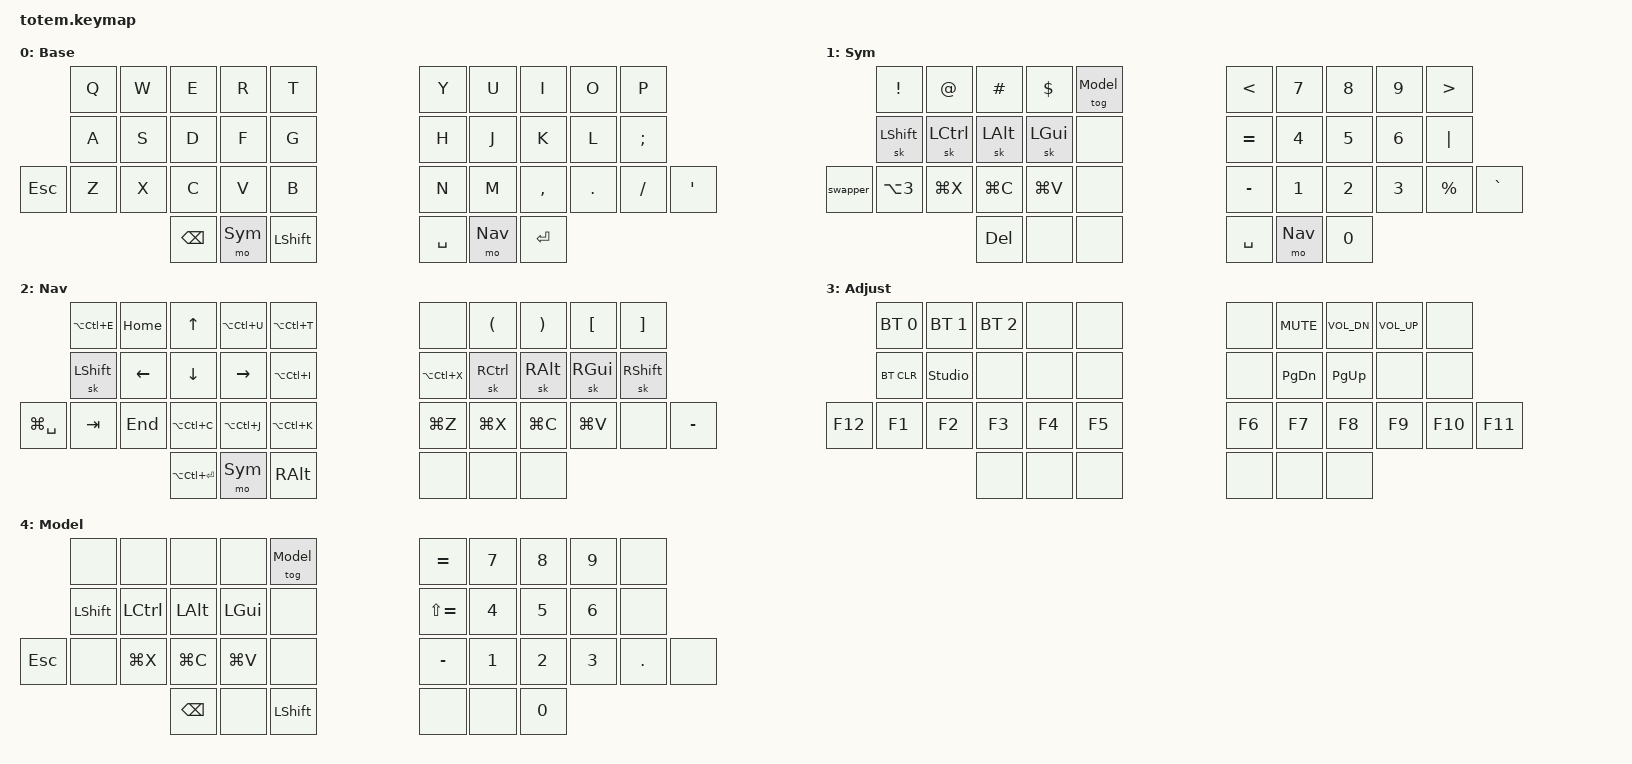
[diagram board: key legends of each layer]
//
//                                                        ▀▀▀▀▀     ▀▀▀▀▀          ▀▀█▀▀
//                                                        ▄▀▀▀▄  ▄  ▄▀▀▀▄  ▄  ▄▀▀▀▄  █  ▄▀▀▀▄
//                                                        █   █  █  █   █  █  █   █  █  █   █
//                                                         ▀▀▀   █   ▀▀▀   █   ▀▀▀   ▀   ▀▀▀
//                                                               █      ▄▄▄█▄▄▄    █   █  
//                                                               ▀      █  █  █     █▄█
//                                                             ▀▀▀▀▀    █  █  █      ▀
//                                                                      ▀  ▀  ▀
//
// ▄▄▄▄▄▄▄▄▄▄▄▄▄▄▄▄▄▄▄▄▄▄▄▄▄▄▄▄▄▄▄▄▄▄▄▄▄▄▄▄▄▄▄▄▄▄▄▄▄▄▄▄▄▄▄▄▄▄▄▄▄▄▄▄▄▄▄▄▄▄▄▄▄▄▄▄▄▄▄▄▄▄▄▄▄▄▄▄▄▄▄▄▄▄▄▄▄▄▄▄▄▄▄▄▄▄▄▄▄▄▄▄▄▄▄▄▄▄▄▄▄▄▄▄▄▄▄▄▄▄▄▄▄▄▄▄▄▄▄▄▄▄▄▄▄▄▄▄▄

#include <behaviors.dtsi>
#include <dt-bindings/zmk/keys.h>
#include <dt-bindings/zmk/bt.h>
#include <dt-bindings/zmk/outputs.h>
#include <dt-bindings/zmk/ext_power.h>

#define Base            0
#define Sym             1
#define Nav             2
#define Adjust          3
#define Model           4

&sk {
    release-after-ms = <1000>;
    quick-release;
};

&caps_word {
    continue-list = <UNDERSCORE MINUS BSPC>;
};

/ {
    behaviors {
        swapper: swapper {
            compatible = "zmk,behavior-smart-toggle";
            #binding-cells = <0>;
            bindings = <&kp LGUI>, <&kp TAB>;
            ignored-key-positions = <2 11 12 13>;
        };

    };

    conditional_layers {
        compatible = "zmk,conditional-layers";
        tri_layer {
            if-layers = <1 2>;
            then-layer = <3>;
        };
    };

    //               0   1   2   3   4                   5   6   7   8   9
    //               10  11  12  13  14                  15  16  17  18  19
    //           20  21  22  23  24  25                  26  27  28  29  30  31
    //                       32  33  34                  35  36  37

    keymap {
        compatible = "zmk,keymap";

        // Staandard QWERTY layout with layers for Symbols, Navigation, and Adjust functions
        // left thumb switches to symbol layer, right thumb switches to navigation layer
        // Edge keys are Esc and single quote

        Base {
            label = "Base";
            bindings = <
                     &kp Q  &kp W  &kp E     &kp R    &kp T                      &kp Y      &kp U    &kp I      &kp O    &kp P
                     &kp A  &kp S  &kp D     &kp F    &kp G                      &kp H      &kp J    &kp K      &kp L    &kp SEMI
            &kp ESC  &kp Z  &kp X  &kp C     &kp V    &kp B                      &kp N      &kp M    &kp COMMA  &kp DOT  &kp SLASH  &kp SQT 
                                   &kp BSPC  &mo Sym  &kp LSHFT                  &kp SPACE  &mo Nav  &kp RET
            >;
        };

        // Symbol layer. First row has brackets and comparison operators
        // Home row has shift, alt, gui, ctrl, equal, tilde, and scroll up/down (a little nav spillover)
        // Central columns have &, @, =, ~, = and ^
        // Bottom row has tab, hash, pipe, star, minus, plus, caret, backslash, dollar, exclamaion, percent, grave
        Sym {
            label = "Sym";
            bindings = <
                           &kp EXCL     &kp AT    &kp POUND &kp DLLR     &tog Model       &kp LT     &kp N7         &kp N8    &kp N9     &kp GT
                           &sk LSHFT    &sk LCTRL &sk LALT  &sk LGUI     &none            &kp EQUAL  &kp N4         &kp N5    &kp N6     &kp PIPE 
            &swapper       &kp LA(N3)   &kp LG(X) &kp LG(C) &kp LG(V)    &none            &kp MINUS  &kp N1         &kp N2    &kp N3     &kp PRCNT  &kp GRAVE
                                                  &kp DEL   &none        &none            &kp SPACE  &mo Nav        &kp N0
            >;
        };

        // Navigation layer. Arrow keys on home row, mouse movement and clicking/scrolling on the left hand
        // Underscore lives here to be shiftable from the symbol layer
        // Extra modifiers on the top right row, and number pad on the bottom row 

        Nav {
            label = "Nav";
            bindings = <
                           &kp LA(LC(E))    &kp HOME    &kp UP          &kp LA(LC(U))  &kp LA(LC(T))      &none         &kp LPAR    &kp RPAR  &kp LBKT  &kp RBKT      
                           &sk LSHFT        &kp LEFT    &kp DOWN        &kp RIGHT      &kp LA(LC(I))      &kp LA(LC(X)) &sk RCTRL   &sk RALT  &sk RGUI  &sk RSHFT
            &kp LG(SPACE)  &kp TAB          &kp END     &kp LA(LC(C))   &kp LA(LC(J))  &kp LA(LC(K))      &kp LG(Z)     &kp LG(X)   &kp LG(C) &kp LG(V) &none      &kp MINUS                                       
                                                        &kp LA(LC(RET)) &mo Sym        &kp RALT            &none         &none       &none
            >;
        };

        // Adjust layer. Activated when both Symbol and Navigation layers are active
        // Should have media controls on the top row and Bluetooth/power controls on the left

        Adjust {
            label = "Adjust";
            bindings = <
                      &bt BT_SEL 0  &bt BT_SEL 1   &bt BT_SEL 2  &none   &none                 &none     &kp C_MUTE   &kp C_VOL_DN    &kp C_VOL_UP     &none
                      &bt BT_CLR    &studio_unlock &none         &none   &none                 &none     &kp PG_DN       &kp PG_UP     &none           &none
            &kp F12   &kp F1        &kp F2         &kp F3        &kp F4  &kp F5                &kp F6    &kp F7          &kp F8        &kp F9          &kp F10     &kp F11
                                                   &none         &none   &none                 &none     &none           &none
            >;
        };

        Model {
            label = "Model";
            bindings = <
                      &none        &none     &none     &none        &tog Model           &kp EQUAL      &kp N7         &kp N8    &kp N9     &none
                      &kp LSHFT    &kp LCTRL &kp LALT  &kp LGUI     &none                &kp LS(EQUAL)  &kp N4         &kp N5    &kp N6     &none 
            &kp ESC   &none        &kp LG(X) &kp LG(C) &kp LG(V)    &none                &kp MINUS      &kp N1         &kp N2    &kp N3     &kp DOT   &none
                                             &kp BSPC  &none        &kp LSHFT            &none          &none          &kp N0
            >;
        };
    };
};

